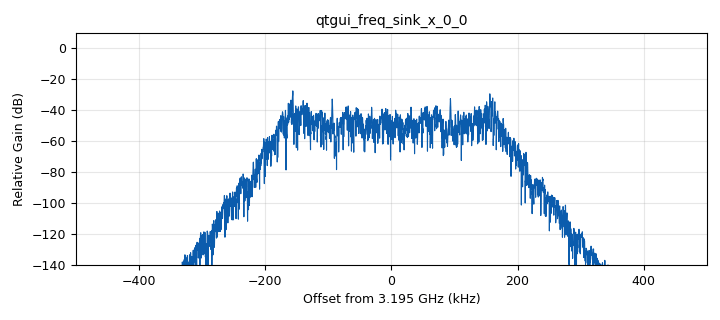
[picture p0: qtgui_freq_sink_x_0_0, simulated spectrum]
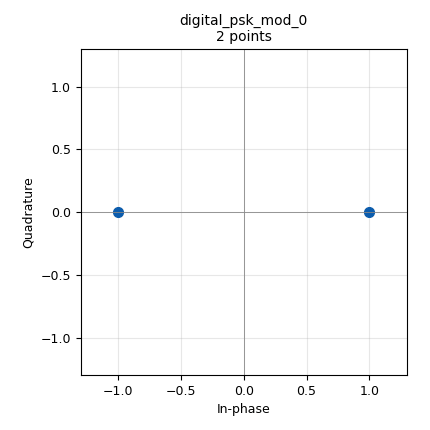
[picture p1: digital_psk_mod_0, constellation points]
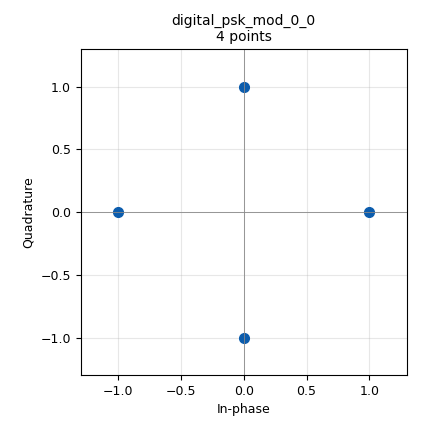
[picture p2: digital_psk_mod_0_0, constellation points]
<?xml version='1.0' encoding='utf-8'?>
<?grc format='1' created='3.7.11'?>
<flow_graph>
<block>
<key>options</key>
<param><key>id</key><value>demo</value></param>
<param><key>author</key><value>Kostis Triantafyllakis</value></param>
<param><key>description</key><value>A demonstration of the gr-phasma project</value></param>
<param><key>generate_options</key><value>qt_gui</value></param>
<param><key>title</key><value>gr-phasma</value></param>
</block>
<block>
<key>variable_qtgui_check_box</key>
<param><key>id</key><value>bpsk_sw</value></param>
<param><key>value</key><value>0</value></param>
<param><key>false</key><value>0</value></param>
<param><key>label</key><value>BPSK</value></param>
<param><key>true</key><value>0.5</value></param>
<param><key>type</key><value>real</value></param>
</block>
<block>
<key>variable</key>
<param><key>id</key><value>fft_size</value></param>
<param><key>value</key><value>500*ifft_size</value></param>
</block>
<block>
<key>variable</key>
<param><key>id</key><value>freq</value></param>
<param><key>value</key><value>2498e6</value></param>
</block>
<block>
<key>variable_qtgui_check_box</key>
<param><key>id</key><value>gfsk_sw</value></param>
<param><key>value</key><value>0.5</value></param>
<param><key>false</key><value>0</value></param>
<param><key>label</key><value>GFSK</value></param>
<param><key>true</key><value>0.5</value></param>
<param><key>type</key><value>real</value></param>
</block>
<block>
<key>variable_qtgui_check_box</key>
<param><key>id</key><value>gmsk_sw</value></param>
<param><key>value</key><value>0</value></param>
<param><key>false</key><value>0</value></param>
<param><key>label</key><value>GMSK</value></param>
<param><key>true</key><value>0.5</value></param>
<param><key>type</key><value>real</value></param>
</block>
<block>
<key>variable</key>
<param><key>id</key><value>ifft_size</value></param>
<param><key>value</key><value>64</value></param>
</block>
<block>
<key>variable_qtgui_check_box</key>
<param><key>id</key><value>qpsk_sw</value></param>
<param><key>value</key><value>0</value></param>
<param><key>false</key><value>0</value></param>
<param><key>label</key><value>QPSK</value></param>
<param><key>true</key><value>0.5</value></param>
<param><key>type</key><value>real</value></param>
</block>
<block>
<key>variable</key>
<param><key>id</key><value>samp_rate</value></param>
<param><key>value</key><value>1e6</value></param>
</block>
<block>
<key>variable_low_pass_filter_taps</key>
<param><key>id</key><value>taps</value></param>
<param><key>cutoff_freq</key><value>0.4</value></param>
<param><key>gain</key><value>1</value></param>
<param><key>samp_rate</key><value>1.0</value></param>
<param><key>width</key><value>0.495</value></param>
<param><key>win</key><value>firdes.WIN_HAMMING</value></param>
</block>
<block>
<key>analog_random_source_x</key>
<param><key>id</key><value>analog_random_source_x_0_0_1_0</value></param>
<param><key>max</key><value>255</value></param>
<param><key>min</key><value>0</value></param>
<param><key>num_samps</key><value>10000000</value></param>
<param><key>type</key><value>byte</value></param>
<param><key>repeat</key><value>False</value></param>
</block>
<block>
<key>blocks_add_xx</key>
<param><key>id</key><value>blocks_add_xx_0</value></param>
<param><key>type</key><value>complex</value></param>
<param><key>num_inputs</key><value>4</value></param>
</block>
<block>
<key>blocks_complex_to_mag_squared</key>
<param><key>id</key><value>blocks_complex_to_mag_squared_0_0</value></param>
</block>
<block>
<key>blocks_message_debug</key>
<param><key>id</key><value>blocks_message_debug_0_0</value></param>
</block>
<block>
<key>blocks_multiply_const_vxx</key>
<param><key>id</key><value>blocks_multiply_const_vxx_0</value></param>
<param><key>const</key><value>bpsk_sw</value></param>
<param><key>type</key><value>complex</value></param>
</block>
<block>
<key>blocks_multiply_const_vxx</key>
<param><key>id</key><value>blocks_multiply_const_vxx_0_0</value></param>
<param><key>const</key><value>(1.0)/fft_size</value></param>
<param><key>type</key><value>complex</value></param>
</block>
<block>
<key>blocks_multiply_const_vxx</key>
<param><key>id</key><value>blocks_multiply_const_vxx_0_1</value></param>
<param><key>const</key><value>qpsk_sw</value></param>
<param><key>type</key><value>complex</value></param>
</block>
<block>
<key>blocks_multiply_const_vxx</key>
<param><key>id</key><value>blocks_multiply_const_vxx_0_2</value></param>
<param><key>const</key><value>gfsk_sw</value></param>
<param><key>type</key><value>complex</value></param>
</block>
<block>
<key>blocks_multiply_const_vxx</key>
<param><key>id</key><value>blocks_multiply_const_vxx_0_3</value></param>
<param><key>const</key><value>gmsk_sw</value></param>
<param><key>type</key><value>complex</value></param>
</block>
<block>
<key>blocks_stream_to_vector</key>
<param><key>id</key><value>blocks_stream_to_vector_1</value></param>
<param><key>type</key><value>complex</value></param>
<param><key>num_items</key><value>fft_size</value></param>
</block>
<block>
<key>blocks_vector_to_stream</key>
<param><key>id</key><value>blocks_vector_to_stream_1</value></param>
<param><key>type</key><value>complex</value></param>
<param><key>num_items</key><value>fft_size</value></param>
</block>
<block>
<key>digital_gfsk_mod</key>
<param><key>id</key><value>digital_gfsk_mod_0_1</value></param>
<param><key>bt</key><value>0.35</value></param>
<param><key>samples_per_symbol</key><value>16</value></param>
<param><key>sensitivity</key><value>1.0</value></param>
</block>
<block>
<key>digital_gmsk_mod</key>
<param><key>id</key><value>digital_gmsk_mod_0</value></param>
<param><key>bt</key><value>0.35</value></param>
<param><key>samples_per_symbol</key><value>64</value></param>
</block>
<block>
<key>digital_psk_mod</key>
<param><key>id</key><value>digital_psk_mod_0</value></param>
<param><key>differential</key><value>True</value></param>
<param><key>excess_bw</key><value>0.35</value></param>
<param><key>mod_code</key><value>"gray"</value></param>
<param><key>constellation_points</key><value>2</value></param>
<param><key>samples_per_symbol</key><value>16</value></param>
</block>
<block>
<key>digital_psk_mod</key>
<param><key>id</key><value>digital_psk_mod_0_0</value></param>
<param><key>differential</key><value>True</value></param>
<param><key>excess_bw</key><value>0.35</value></param>
<param><key>mod_code</key><value>"gray"</value></param>
<param><key>constellation_points</key><value>4</value></param>
<param><key>samples_per_symbol</key><value>16</value></param>
</block>
<block>
<key>fft_vxx</key>
<param><key>id</key><value>fft_vxx_1</value></param>
<param><key>fft_size</key><value>fft_size</value></param>
<param><key>forward</key><value>True</value></param>
<param><key>type</key><value>complex</value></param>
<param><key>shift</key><value>True</value></param>
<param><key>window</key><value></value></param>
</block>
<block>
<key>osmosdr_sink</key>
<param><key>id</key><value>osmosdr_sink_0</value></param>
<param><key>bb_gain0</key><value>20</value></param>
<param><key>freq0</key><value>freq</value></param>
<param><key>if_gain0</key><value>20</value></param>
<param><key>gain0</key><value>10</value></param>
<param><key>args</key><value>bladerf=0,fpga='/home/ctriant/hostedx115-latest.rbf'</value></param>
<param><key>type</key><value>fc32</value></param>
<param><key>sample_rate</key><value>samp_rate</value></param>
<param><key>sync</key><value></value></param>
</block>
<block>
<key>osmosdr_source</key>
<param><key>id</key><value>osmosdr_source_0</value></param>
<param><key>bb_gain0</key><value>20</value></param>
<param><key>freq0</key><value>freq</value></param>
<param><key>gain_mode0</key><value>False</value></param>
<param><key>if_gain0</key><value>20</value></param>
<param><key>gain0</key><value>10</value></param>
<param><key>args</key><value>bladerf=0,fpga='/home/ctriant/hostedx115-latest.rbf'</value></param>
<param><key>type</key><value>fc32</value></param>
<param><key>sample_rate</key><value>samp_rate</value></param>
<param><key>sync</key><value></value></param>
</block>
<block>
<key>phasma_eigenvalue_signal_detector</key>
<param><key>id</key><value>phasma_eigenvalue_signal_detector_0</value></param>
<param><key>actual_bw</key><value>samp_rate</value></param>
<param><key>eigen_samples</key><value>128</value></param>
<param><key>_enabled</key><value>0</value></param>
<param><key>fft_size</key><value>32000</value></param>
<param><key>pfa</key><value>0.01</value></param>
<param><key>noise_floor_est_cnt</key><value>300</value></param>
<param><key>sampling_rate</key><value>samp_rate</value></param>
<param><key>smoothing_factor</key><value>10</value></param>
</block>
<block>
<key>phasma_opencv_predict</key>
<param><key>id</key><value>phasma_opencv_predict_0</value></param>
<param><key>classifier_type</key><value>0</value></param>
<param><key>nlabels</key><value>5</value></param>
<param><key>data_type</key><value>3</value></param>
<param><key>metafile</key><value></value></param>
<param><key>npredictors</key><value>256</value></param>
<param><key>filename</key><value>/home/admin/model_camad.xml</value></param>
</block>
<block>
<key>phasma_signal_separator</key>
<param><key>id</key><value>phasma_signal_separator_0</value></param>
<param><key>channel_bw</key><value>20e3</value></param>
<param><key>threshold_db</key><value>-95</value></param>
<param><key>threshold_margin_db</key><value>3</value></param>
<param><key>center_freq</key><value>3.19e9</value></param>
<param><key>ifft_size</key><value>64</value></param>
<param><key>min_sig_bw</key><value>100e3</value></param>
<param><key>sig_num</key><value>100</value></param>
<param><key>samp_rate</key><value>10e6</value></param>
<param><key>signal_duration</key><value>100e-3</value></param>
<param><key>silence_guardband</key><value>1e3</value></param>
<param><key>taps</key><value>taps</value></param>
</block>
<block>
<key>qtgui_freq_sink_x</key>
<param><key>id</key><value>qtgui_freq_sink_x_0_0</value></param>
<param><key>bw</key><value>samp_rate</value></param>
<param><key>fc</key><value>3195e6</value></param>
<param><key>fftsize</key><value>4096</value></param>
<param><key>showports</key><value>True</value></param>
<param><key>type</key><value>complex</value></param>
<param><key>update_time</key><value>0.5</value></param>
<param><key>wintype</key><value>firdes.WIN_BLACKMAN_hARRIS</value></param>
</block>
<connection><source_block_id>analog_random_source_x_0_0_1_0</source_block_id><sink_block_id>digital_gfsk_mod_0_1</sink_block_id><source_key>0</source_key><sink_key>0</sink_key></connection>
<connection><source_block_id>analog_random_source_x_0_0_1_0</source_block_id><sink_block_id>digital_gmsk_mod_0</sink_block_id><source_key>0</source_key><sink_key>0</sink_key></connection>
<connection><source_block_id>analog_random_source_x_0_0_1_0</source_block_id><sink_block_id>digital_psk_mod_0</sink_block_id><source_key>0</source_key><sink_key>0</sink_key></connection>
<connection><source_block_id>analog_random_source_x_0_0_1_0</source_block_id><sink_block_id>digital_psk_mod_0_0</sink_block_id><source_key>0</source_key><sink_key>0</sink_key></connection>
<connection><source_block_id>blocks_add_xx_0</source_block_id><sink_block_id>osmosdr_sink_0</sink_block_id><source_key>0</source_key><sink_key>0</sink_key></connection>
<connection><source_block_id>blocks_add_xx_0</source_block_id><sink_block_id>qtgui_freq_sink_x_0_0</sink_block_id><source_key>0</source_key><sink_key>0</sink_key></connection>
<connection><source_block_id>blocks_complex_to_mag_squared_0_0</source_block_id><sink_block_id>phasma_signal_separator_0</sink_block_id><source_key>0</source_key><sink_key>0</sink_key></connection>
<connection><source_block_id>blocks_multiply_const_vxx_0</source_block_id><sink_block_id>blocks_add_xx_0</sink_block_id><source_key>0</source_key><sink_key>0</sink_key></connection>
<connection><source_block_id>blocks_multiply_const_vxx_0_0</source_block_id><sink_block_id>blocks_complex_to_mag_squared_0_0</sink_block_id><source_key>0</source_key><sink_key>0</sink_key></connection>
<connection><source_block_id>blocks_multiply_const_vxx_0_1</source_block_id><sink_block_id>blocks_add_xx_0</sink_block_id><source_key>0</source_key><sink_key>1</sink_key></connection>
<connection><source_block_id>blocks_multiply_const_vxx_0_2</source_block_id><sink_block_id>blocks_add_xx_0</sink_block_id><source_key>0</source_key><sink_key>2</sink_key></connection>
<connection><source_block_id>blocks_multiply_const_vxx_0_3</source_block_id><sink_block_id>blocks_add_xx_0</sink_block_id><source_key>0</source_key><sink_key>3</sink_key></connection>
<connection><source_block_id>blocks_stream_to_vector_1</source_block_id><sink_block_id>fft_vxx_1</sink_block_id><source_key>0</source_key><sink_key>0</sink_key></connection>
<connection><source_block_id>blocks_vector_to_stream_1</source_block_id><sink_block_id>blocks_multiply_const_vxx_0_0</sink_block_id><source_key>0</source_key><sink_key>0</sink_key></connection>
<connection><source_block_id>digital_gfsk_mod_0_1</source_block_id><sink_block_id>blocks_multiply_const_vxx_0_2</sink_block_id><source_key>0</source_key><sink_key>0</sink_key></connection>
<connection><source_block_id>digital_gmsk_mod_0</source_block_id><sink_block_id>blocks_multiply_const_vxx_0_3</sink_block_id><source_key>0</source_key><sink_key>0</sink_key></connection>
<connection><source_block_id>digital_psk_mod_0</source_block_id><sink_block_id>blocks_multiply_const_vxx_0</sink_block_id><source_key>0</source_key><sink_key>0</sink_key></connection>
<connection><source_block_id>digital_psk_mod_0_0</source_block_id><sink_block_id>blocks_multiply_const_vxx_0_1</sink_block_id><source_key>0</source_key><sink_key>0</sink_key></connection>
<connection><source_block_id>fft_vxx_1</source_block_id><sink_block_id>blocks_vector_to_stream_1</sink_block_id><source_key>0</source_key><sink_key>0</sink_key></connection>
<connection><source_block_id>osmosdr_source_0</source_block_id><sink_block_id>blocks_stream_to_vector_1</sink_block_id><source_key>0</source_key><sink_key>0</sink_key></connection>
<connection><source_block_id>osmosdr_source_0</source_block_id><sink_block_id>phasma_eigenvalue_signal_detector_0</sink_block_id><source_key>0</source_key><sink_key>0</sink_key></connection>
<connection><source_block_id>osmosdr_source_0</source_block_id><sink_block_id>phasma_signal_separator_0</sink_block_id><source_key>0</source_key><sink_key>1</sink_key></connection>
<connection><source_block_id>phasma_eigenvalue_signal_detector_0</source_block_id><sink_block_id>phasma_signal_separator_0</sink_block_id><source_key>threshold</source_key><sink_key>threshold_rcv</sink_key></connection>
<connection><source_block_id>phasma_opencv_predict_0</source_block_id><sink_block_id>blocks_message_debug_0_0</sink_block_id><source_key>classification</source_key><sink_key>print</sink_key></connection>
<connection><source_block_id>phasma_signal_separator_0</source_block_id><sink_block_id>phasma_opencv_predict_0</sink_block_id><source_key>out</source_key><sink_key>in</sink_key></connection>
</flow_graph>
